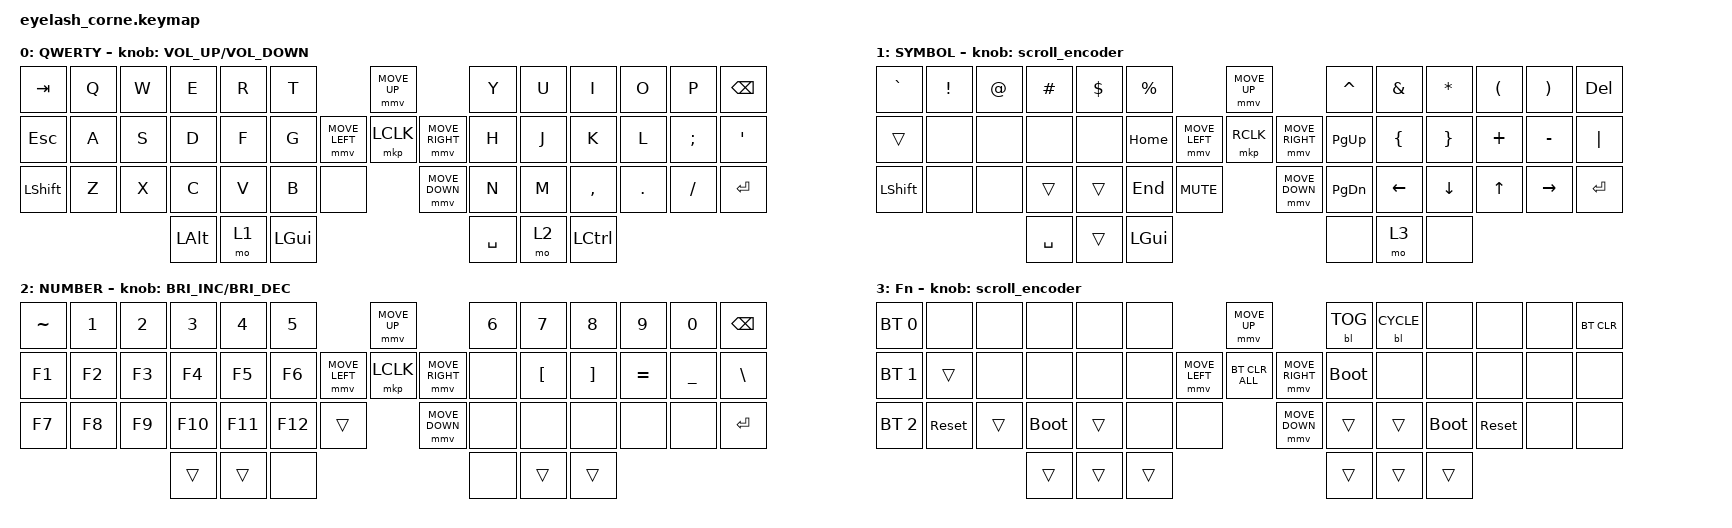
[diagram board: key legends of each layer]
#define ZMK_POINTING_DEFAULT_MOVE_VAL 1200  // 600
#define ZMK_POINTING_DEFAULT_SCRL_VAL 25   // 10

#include <input/processors.dtsi>
#include <zephyr/dt-bindings/input/input-event-codes.h>
#include <behaviors.dtsi>
#include <dt-bindings/zmk/backlight.h>
#include <dt-bindings/zmk/bt.h>
#include <dt-bindings/zmk/keys.h>
#include <dt-bindings/zmk/pointing.h>
#include <dt-bindings/zmk/rgb.h>

&mmv_input_listener { input-processors = <&zip_xy_scaler 2 1>; };

&msc_input_listener { input-processors = <&zip_scroll_scaler 2 1>; };

&msc {
    acceleration-exponent = <1>;      // 0
    time-to-max-speed-ms = <100>;       // 300
    delay-ms = <0>;                   // 0
};

&mmv {
    time-to-max-speed-ms = <500>;
    acceleration-exponent = <1>;
    trigger-period-ms = <16>;
};

&soft_off { hold-time-ms = <2000>; };

/ {
    behaviors {
        td0: td0 {
            compatible = "zmk,behavior-tap-dance";
            display-name = "Shift/Caps Lock Tap Dance";
            #binding-cells = <0>;
            bindings = <&kp LEFT_SHIFT>, <&kp CAPS>;
        };
    };

    rgb_encoder: rgb_encoder {
        compatible = "zmk,behavior-sensor-rotate";
        #sensor-binding-cells = <0>;
        bindings = <&rgb_ug RGB_BRI>, <&rgb_ug RGB_BRD>;
    };

    scroll_encoder: scroll_encoder {
        compatible = "zmk,behavior-sensor-rotate";
        #sensor-binding-cells = <0>;
        bindings = <&msc SCRL_DOWN>, <&msc SCRL_UP>;

        tap-ms = <100>;
    };

    combos {
        compatible = "zmk,combos";

        softoff {
            bindings = <&soft_off>;
            key-positions = <1 15 29>;
        };
    };

    keymap {
        compatible = "zmk,keymap";

        default_layer {
            display-name = "QWERTY";
            bindings = <
&kp TAB         &kp Q  &kp W  &kp E         &kp R  &kp T                              &mmv MOVE_UP                     &kp Y      &kp U  &kp I      &kp O    &kp P     &kp BSPC
&kp ESCAPE      &kp A  &kp S  &kp D         &kp F  &kp G              &mmv MOVE_LEFT  &mkp LCLK       &mmv MOVE_RIGHT  &kp H      &kp J  &kp K      &kp L    &kp SEMI  &kp SQT
&kp LEFT_SHIFT  &kp Z  &kp X  &kp C         &kp V  &kp B     &none                    &mmv MOVE_DOWN                   &kp N      &kp M  &kp COMMA  &kp DOT  &kp FSLH  &kp ENTER
                              &kp LEFT_ALT  &mo 1  &kp LGUI                                                            &kp SPACE  &mo 2  &kp LCTRL
            >;

            sensor-bindings = <&inc_dec_kp C_VOLUME_UP C_VOLUME_DOWN>;
        };

        lower_layer {
            display-name = "SYMBOL";
            bindings = <
&kp GRAVE       &kp EXCLAMATION  &kp AT_SIGN  &kp HASH   &kp DOLLAR  &kp PERCENT                                 &mmv MOVE_UP                     &kp CARET      &kp AMPERSAND   &kp ASTERISK     &kp LEFT_PARENTHESIS  &kp RIGHT_PARENTHESIS  &kp DELETE
&trans          &none            &none        &none      &none       &kp HOME                    &mmv MOVE_LEFT  &mkp RCLK       &mmv MOVE_RIGHT  &kp PAGE_UP    &kp LEFT_BRACE  &kp RIGHT_BRACE  &kp PLUS              &kp MINUS              &kp PIPE
&kp LEFT_SHIFT  &none            &none        &trans     &trans      &kp END       &kp C_MUTE                    &mmv MOVE_DOWN                   &kp PAGE_DOWN  &kp LEFT        &kp DOWN         &kp UP_ARROW          &kp RIGHT              &kp ENTER
                                              &kp SPACE  &trans      &kp LEFT_GUI                                                                 &none          &mo 3           &none
            >;

            sensor-bindings = <&scroll_encoder>;
        };

        raise_layer {
            display-name = "NUMBER";
            bindings = <
&kp TILDE  &kp NUMBER_1  &kp NUMBER_2  &kp NUMBER_3  &kp NUMBER_4  &kp NUMBER_5                            &mmv MOVE_UP                     &kp NUMBER_6  &kp NUMBER_7      &kp NUMBER_8       &kp NUMBER_9  &kp NUMBER_0    &kp BSPC
&kp F1     &kp F2        &kp F3        &kp F4        &kp F5        &kp F6                  &mmv MOVE_LEFT  &mkp LCLK       &mmv MOVE_RIGHT  &none         &kp LEFT_BRACKET  &kp RIGHT_BRACKET  &kp EQUAL     &kp UNDERSCORE  &kp BACKSLASH
&kp F7     &kp F8        &kp F9        &kp F10       &kp F11       &kp F12       &trans                    &mmv MOVE_DOWN                   &none         &none             &none              &none         &none           &kp ENTER
                                       &trans        &trans        &none                                                                    &none         &trans            &trans
            >;

            sensor-bindings = <&inc_dec_kp C_BRIGHTNESS_INC C_BRIGHTNESS_DEC>;
        };

        layer_3 {
            display-name = "Fn";
            bindings = <
&bt BT_SEL 0  &none       &none   &none        &none   &none                            &mmv MOVE_UP                     &bl BL_TOG   &bl BL_CYCLE  &none        &none       &none  &bt BT_CLR
&bt BT_SEL 1  &trans      &none   &none        &none   &none            &mmv MOVE_LEFT  &bt BT_CLR_ALL  &mmv MOVE_RIGHT  &bootloader  &none         &none        &none       &none  &none
&bt BT_SEL 2  &sys_reset  &trans  &bootloader  &trans  &none   &none                    &mmv MOVE_DOWN                   &trans       &trans        &bootloader  &sys_reset  &none  &none
                                  &trans       &trans  &trans                                                            &trans       &trans        &trans
            >;

            sensor-bindings = <&scroll_encoder>;
        };
    };
};
